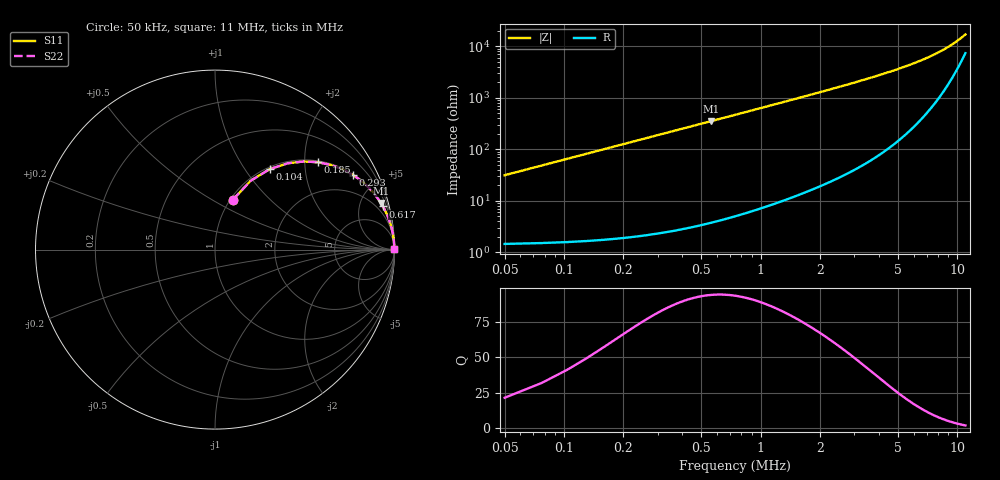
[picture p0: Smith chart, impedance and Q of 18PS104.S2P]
! Coilcraft 1812PS-104 Power Chip Inductor
! 1 October 2002
# MHZ S MA R 50
!Freq  MagS11  AngS11  MagS21  AngS21  MagS12  AngS12  MagS22  AngS22
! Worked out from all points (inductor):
!   407 points, 50 kHz to 11 MHz, reference 50 ohm
!   read as one part in series: L = 100 uH near 104 kHz
!   highest Q = 94.1 at 563 kHz (marker M1), where L = 100 uH
!   S11 on the Smith chart (normalised r, x): 50 kHz: 1.03, +0.63; 104 kHz: 1.03, +1.31; 185 kHz: 1.04, +2.33; 293 kHz: 1.05, +3.68; 617 kHz: 1.08, +7.77; 11 MHz: open
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0.05  0.2961 70.1  0.9415 -17.2  0.9415 -17.2  0.2961 70.1
0.077  0.4304 62.7  0.8893 -25.5  0.8893 -25.5  0.4304 62.7
0.104  0.5412 55.9  0.8279 -32.8  0.8279 -32.8  0.5412 55.9
0.131  0.6294 49.8  0.7645 -39.0  0.7645 -39.0  0.6294 49.8
0.158  0.6985 44.7  0.7034 -44.3  0.7034 -44.3  0.6985 44.7
0.185  0.7523 40.3  0.647 -48.8  0.647 -48.8  0.7523 40.3
0.239  0.8273 33.4  0.5507 -55.8  0.5507 -55.8  0.8273 33.4
0.293  0.8743 28.3  0.4747 -61.0  0.4747 -61.0  0.8743 28.3
0.347  0.9051 24.5  0.4148 -64.8  0.4148 -64.8  0.9051 24.5
0.401  0.926 21.5  0.3672 -67.8  0.3672 -67.8  0.926 21.5
0.563  0.9598 15.7  0.2708 -73.7  0.2708 -73.7  0.9598 15.7
0.617  0.966 14.4  0.2486 -75.0  0.2486 -75.0  0.966 14.4
0.86  0.9815 10.4  0.1809 -79.0  0.1809 -79.0  0.9815 10.4
1.13  0.9888 7.9  0.1383 -81.4  0.1383 -81.4  0.9888 7.9
1.481  0.9931 6.1  0.1054 -83.2  0.1054 -83.2  0.9931 6.1
1.886  0.9954 4.7  0.08236 -84.5  0.08236 -84.5  0.9954 4.7
2.696  0.9974 3.2  0.05653 -85.7  0.05653 -85.7  0.9974 3.2
3.722  0.9982 2.3  0.03945 -86.3  0.03945 -86.3  0.9982 2.3
5.531  0.9986 1.4  0.02397 -85.8  0.02397 -85.8  0.9986 1.4
7.367  0.9984 0.9  0.01532 -83.5  0.01532 -83.5  0.9984 0.9
9.176  0.998 0.5  0.009743 -77.8  0.009743 -77.8  0.998 0.5
11  0.9974 0.3  0.005851 -63.9  0.005851 -63.9  0.9974 0.3
